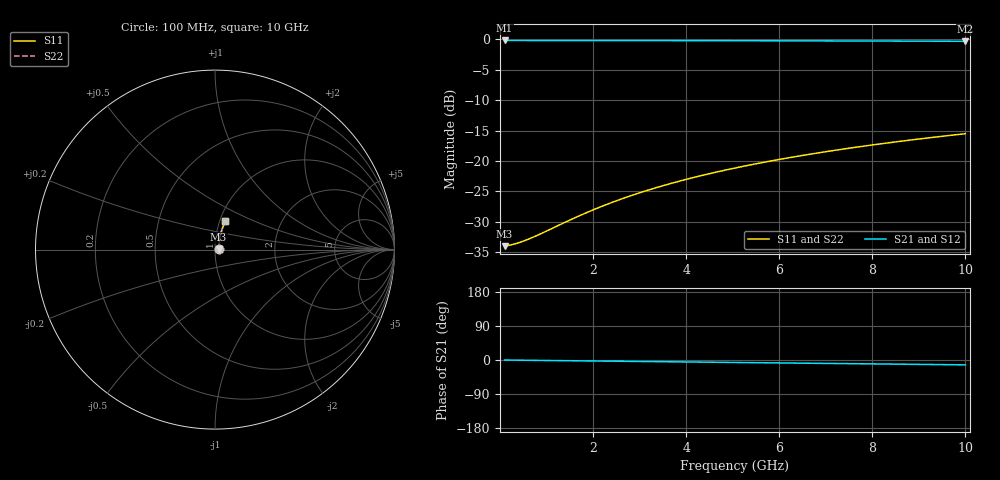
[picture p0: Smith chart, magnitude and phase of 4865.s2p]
# Hz S RI R 50.00
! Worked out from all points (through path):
!   100 points, 100 MHz to 10 GHz, reference 50 ohm
!   highest |S21| = -0.17 dB at 100 MHz (marker M1); lowest = -0.3 dB at 10 GHz (marker M2)
!   group delay of S21, straight-line fit = 3.56 ps
!   lowest |S11| = -34.0 dB at 100 MHz (marker M3), VSWR 1.04, Z = 52 + j0.171 ohm
!   |S11| at or under -10 dB: start of sweep to end of sweep
!   |S22| runs from -34.0 to -15.5 dB; largest |S21 - S12| = 1e-12
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1e8  0.0199 0.00164  0.9801 -0.00221  0.9801 -0.00221  0.0199 0.00164
3e8  0.0201 0.00493  0.9799 -0.00661  0.9799 -0.00661  0.0201 0.00493
4e8  0.0202 0.00657  0.9798 -0.00882  0.9798 -0.00882  0.0202 0.00657
6e8  0.0204 0.00986  0.9796 -0.0132  0.9796 -0.0132  0.0204 0.00986
8e8  0.0206 0.0131  0.9794 -0.0176  0.9794 -0.0176  0.0206 0.0131
1.5e9  0.0214 0.0246  0.9785 -0.033  0.9785 -0.033  0.0214 0.0246
1.8e9  0.0219 0.0295  0.9781 -0.0396  0.9781 -0.0396  0.0219 0.0295
2.2e9  0.0226 0.036  0.9773 -0.0484  0.9773 -0.0484  0.0226 0.036
2.6e9  0.0233 0.0426  0.9765 -0.0571  0.9765 -0.0571  0.0233 0.0426
3e9  0.0242 0.049  0.9756 -0.0659  0.9756 -0.0659  0.0242 0.049
3.4e9  0.0253 0.0555  0.9745 -0.0746  0.9745 -0.0746  0.0253 0.0555
3.8e9  0.0264 0.062  0.9734 -0.0833  0.9734 -0.0833  0.0264 0.062
4.2e9  0.0276 0.0684  0.9721 -0.092  0.9721 -0.092  0.0276 0.0684
4.6e9  0.0289 0.0748  0.9707 -0.1006  0.9707 -0.1006  0.0289 0.0748
5.1e9  0.0308 0.0828  0.9688 -0.1114  0.9688 -0.1114  0.0308 0.0828
5.5e9  0.0324 0.0891  0.9671 -0.12  0.9671 -0.12  0.0324 0.0891
5.9e9  0.0341 0.0954  0.9654 -0.1285  0.9654 -0.1285  0.0341 0.0954
6.7e9  0.0378 0.1079  0.9615 -0.1455  0.9615 -0.1455  0.0378 0.1079
7.5e9  0.0419 0.1202  0.9571 -0.1623  0.9571 -0.1623  0.0419 0.1202
8.4e9  0.0471 0.1338  0.9517 -0.1811  0.9517 -0.1811  0.0471 0.1338
9.2e9  0.0522 0.1457  0.9464 -0.1975  0.9464 -0.1975  0.0522 0.1457
1e10  0.0576 0.1574  0.9407 -0.2137  0.9407 -0.2137  0.0576 0.1574
